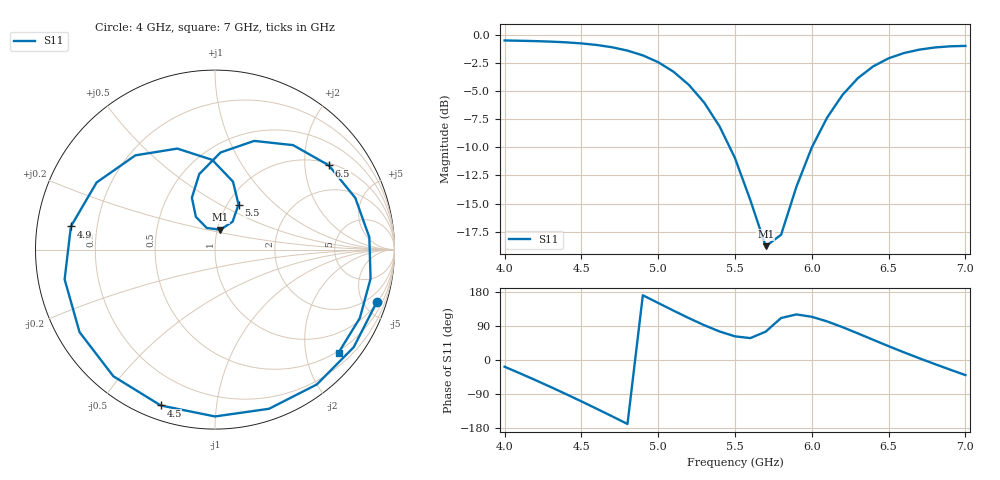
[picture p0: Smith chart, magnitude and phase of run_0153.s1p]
! Touchstone file exported from HFSS 2024.2.0
!  File:  C:/Users/wsak9/Desktop/Sim Fast/Widenad Patch/WP_AI_V1_sweep.aedt
!  Generated:  09:16:58 PM Oct 13, 2026
!  Design:  A1_model
!  Project:  WP_AI_V1_sweep
!  Setup:  Setup1
!  Solution:  Sweep
! Variables:
!  Air_gap = 4.38mm
!  Curve_Amp1 = 1.21
!  Curve_len1 = 1
!  Curve_pos = 10.585mm
!  Extra = 3.66mm
!  H_sub = 0.79mm
!  L_Patch = 17.17mm
!  L_Patch1 = 14.37mm
!  Sx = 2.28mm
!  Sy = 4.74mm
!  WS = 1.23mm
!  W_Patch = 17.81mm
!  W_Patch1 = 10.71mm
!Data is not renormalized
# GHz S MA
! Terminal data exported
! Port[1] = 1
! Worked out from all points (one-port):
!   31 points, 4 GHz to 7 GHz, reference per port
!   lowest |S11| = -18.8 dB at 5.7 GHz (marker M1), VSWR 1.26
!   |S11| at or under -10 dB: 5.466 GHz to 6 GHz (533.9 MHz wide, 9.31 % of centre)
!   S11 on the Smith chart (normalised r, x): 4 GHz: 1.09, -6.19; 4.5 GHz: 0.06, -0.71; 4.9 GHz: 0.10, +0.08; 5.5 GHz: 1.12, +0.61; 6.5 GHz: 1.07, +2.65; 7 GHz: 0.46, -2.69
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4  0.9478 -17.8
4.1  0.945 -35.1
4.2  0.9414 -52.9
4.3  0.9366 -71.2
4.4  0.9297 -90.0
4.5  0.9195 -109.2
4.6  0.9048 -128.8
4.7  0.8837 -148.6
4.8  0.8541 -168.8
4.9  0.8131 170.9
5  0.7582 150.4
5.1  0.6874 130.2
5.2  0.6006 110.4
5.3  0.5003 91.8
5.4  0.3918 75.2
5.5  0.2834 62.4
5.7  0.1148 74.9
5.8  0.129 110.8
5.9  0.2113 120.3
6.1  0.4297 101.8
6.2  0.5422 86.7
6.3  0.6438 70.2
6.4  0.7268 53.2
6.5  0.7891 36.5
6.6  0.833 20.2
6.7  0.8626 4.6
6.8  0.8817 -10.6
7  0.8963 -39.8
